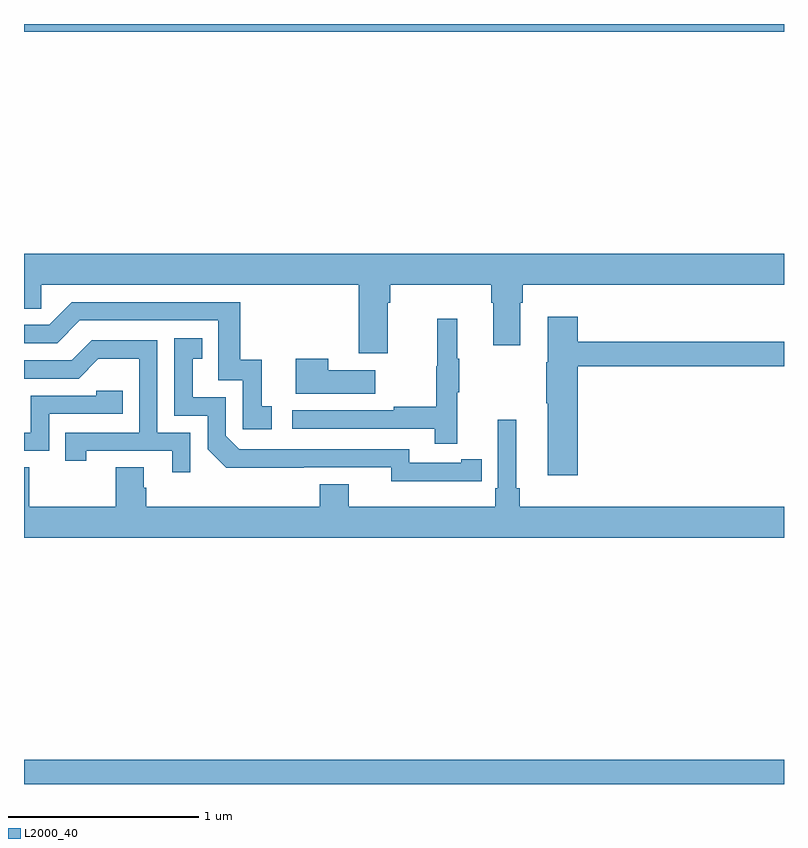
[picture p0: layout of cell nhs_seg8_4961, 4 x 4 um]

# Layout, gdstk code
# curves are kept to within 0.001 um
import gdstk
lib = gdstk.Library(unit=1e-6, precision=1e-09)
def R(c, l, rs):  # rectangles x0, y0, x1, y1
    for r in rs: c.add(gdstk.rectangle(r[:2], r[2:], *l))
def P(c, l, *ps):  # polygons
    for p in ps: c.add(gdstk.Polygon(p, *l))
L2000_40 = (2000, 40)

nhs_seg8_4961 = lib.new_cell('nhs_seg8_4961')
R(nhs_seg8_4961, L2000_40, [(411,1085.9,415,1086.028), (411,1089.86,415,1089.9)])
P(nhs_seg8_4961, L2000_40, [(412.915,1088.432),(412.928,1088.432),(412.928,1088.528),(413.459,1088.528),(413.459,1088.432),(413.471,1088.432),(413.471,1088.208),(413.611,1088.208),(413.611,1088.432),(413.624,1088.432),(413.624,1088.528),(415,1088.528),(415,1088.692),(411,1088.692),(411,1088.401),(411.09,1088.401),(411.09,1088.528),(412.763,1088.528),(412.763,1088.166),(412.915,1088.166)],
  [(412.303,1087.887),(412.25,1087.887),(412.25,1088.134),(412.139,1088.134),(412.139,1088.436),(411.252,1088.436),(411.132,1088.316),(411,1088.316),(411,1088.22),(411.174,1088.22),(411.294,1088.34),(412.023,1088.34),(412.023,1088.025),(412.152,1088.025),(412.152,1087.767),(412.303,1087.767)],
  [(413.915,1088.098),(415,1088.098),(415,1088.227),(413.915,1088.227),(413.915,1088.359),(413.756,1088.359),(413.756,1088.121),(413.749,1088.121),(413.749,1087.903),(413.756,1087.903),(413.756,1087.524),(413.915,1087.524)],
  [(413.279,1087.963),(413.29,1087.963),(413.29,1088.137),(413.279,1088.137),(413.279,1088.35),(413.176,1088.35),(413.176,1088.1),(413.169,1088.1),(413.169,1087.886),(412.945,1087.886),(412.945,1087.866),(412.413,1087.866),(412.413,1087.77),(413.161,1087.77),(413.161,1087.692),(413.279,1087.692)],
  [(413.3,1087.494),(413.408,1087.494),(413.408,1087.61),(413.3,1087.61),(413.3,1087.59),(413.028,1087.59),(413.028,1087.662),(412.134,1087.662),(412.062,1087.734),(412.062,1087.935),(411.889,1087.935),(411.889,1088.139),(411.938,1088.139),(411.938,1088.245),(411.792,1088.245),(411.792,1087.839),(411.966,1087.839),(411.966,1087.662),(412.064,1087.565),(412.932,1087.566),(412.932,1087.493)],
  [(411.876,1087.749),(411.702,1087.749),(411.702,1088.235),(411.356,1088.235),(411.251,1088.13),(411,1088.13),(411,1088.034),(411.288,1088.034),(411.392,1088.138),(411.606,1088.138),(411.606,1087.749),(411.217,1087.749),(411.217,1087.602),(411.328,1087.602),(411.328,1087.653),(411.779,1087.653),(411.779,1087.542),(411.876,1087.542)],
  [(412.849,1088.077),(412.601,1088.077),(412.601,1088.137),(412.43,1088.137),(412.43,1087.955),(412.849,1087.955)],
  [(411.132,1087.848),(411.521,1087.848),(411.521,1087.971),(411.381,1087.971),(411.381,1087.944),(411.036,1087.944),(411.036,1087.749),(411,1087.749),(411,1087.653),(411.132,1087.653)],
  [(415,1087.36),(413.609,1087.36),(413.609,1087.456),(413.59,1087.456),(413.59,1087.816),(413.493,1087.816),(413.493,1087.456),(413.48,1087.456),(413.48,1087.36),(412.708,1087.36),(412.708,1087.477),(412.556,1087.477),(412.556,1087.36),(411.644,1087.36),(411.644,1087.458),(411.631,1087.458),(411.631,1087.568),(411.484,1087.568),(411.484,1087.36),(411.027,1087.36),(411.027,1087.568),(411,1087.568),(411,1087.196),(415,1087.196)])

lib.write_gds('nhs_seg8_4961.gds')
